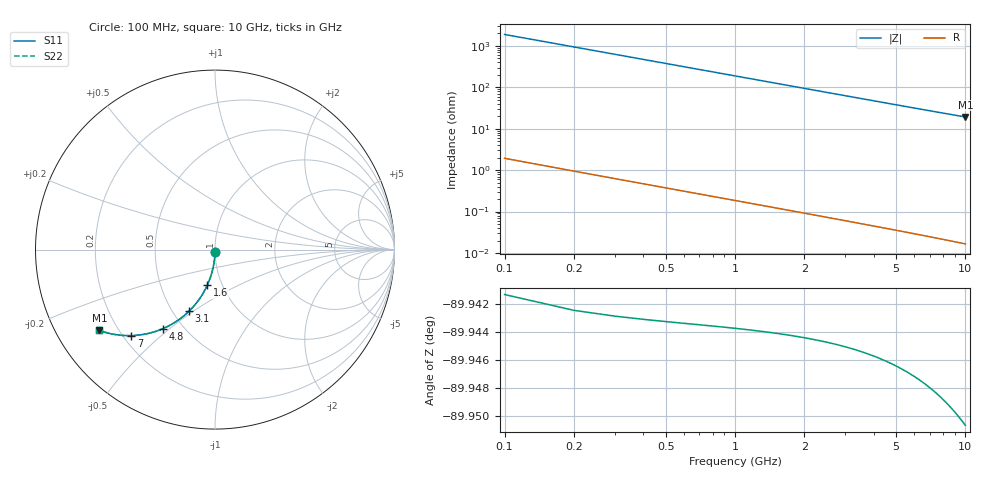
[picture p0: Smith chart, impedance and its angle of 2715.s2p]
# Hz S RI R 50.00
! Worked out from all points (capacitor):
!   100 points, 100 MHz to 10 GHz, reference 50 ohm
!   read as one part in shunt: C = 843 fF near 100 MHz
!   lowest |Z| = 19.2 ohm at 10 GHz (marker M1)
!   S11 on the Smith chart (normalised r, x): 100 MHz: 1.00, -0.03; 1.6 GHz: 0.85, -0.35; 3.1 GHz: 0.60, -0.48; 4.8 GHz: 0.39, -0.47; 7 GHz: 0.23, -0.40; 10 GHz: 0.13, -0.31
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1e8  -9.09e-05 -0.013  0.9997 -0.0135  0.9997 -0.0135  -9.09e-05 -0.013
2e8  -0.000629 -0.0259  0.9992 -0.027  0.9992 -0.027  -0.000629 -0.0259
3e8  -0.00152 -0.0389  0.9983 -0.0405  0.9983 -0.0405  -0.00152 -0.0389
4e8  -0.00275 -0.0517  0.997 -0.0539  0.997 -0.0539  -0.00275 -0.0517
5e8  -0.00433 -0.0646  0.9955 -0.0673  0.9955 -0.0673  -0.00433 -0.0646
6e8  -0.00625 -0.0773  0.9935 -0.0806  0.9935 -0.0806  -0.00625 -0.0773
7e8  -0.00851 -0.09  0.9913 -0.0938  0.9913 -0.0938  -0.00851 -0.09
9e8  -0.014 -0.1151  0.9858 -0.1199  0.9858 -0.1199  -0.014 -0.1151
1.2e9  -0.0247 -0.1518  0.9751 -0.1583  0.9751 -0.1583  -0.0247 -0.1518
1.6e9  -0.0431 -0.1985  0.9567 -0.2072  0.9567 -0.2072  -0.0431 -0.1985
1.8e9  -0.0539 -0.2208  0.9458 -0.2305  0.9458 -0.2305  -0.0539 -0.2208
2.4e9  -0.0921 -0.2823  0.9076 -0.2954  0.9076 -0.2954  -0.0921 -0.2823
3.1e9  -0.1449 -0.3432  0.8548 -0.3601  0.8548 -0.3601  -0.1449 -0.3432
3.4e9  -0.1694 -0.3655  0.8302 -0.384  0.8302 -0.384  -0.1694 -0.3655
4.1e9  -0.229 -0.4087  0.7705 -0.431  0.7705 -0.431  -0.229 -0.4087
4.8e9  -0.2897 -0.4402  0.7097 -0.4664  0.7097 -0.4664  -0.2897 -0.4402
5.1e9  -0.3155 -0.4504  0.6839 -0.4783  0.6839 -0.4783  -0.3155 -0.4504
5.9e9  -0.3821 -0.4693  0.6171 -0.5017  0.6171 -0.5017  -0.3821 -0.4693
6.7e9  -0.4444 -0.478  0.5547 -0.5148  0.5547 -0.5148  -0.4444 -0.478
7e9  -0.4664 -0.4791  0.5326 -0.5176  0.5326 -0.5176  -0.4664 -0.4791
8.4e9  -0.5587 -0.4727  0.44 -0.5192  0.44 -0.5192  -0.5587 -0.4727
1e10  -0.6438 -0.4502  0.3544 -0.5059  0.3544 -0.5059  -0.6438 -0.4502
